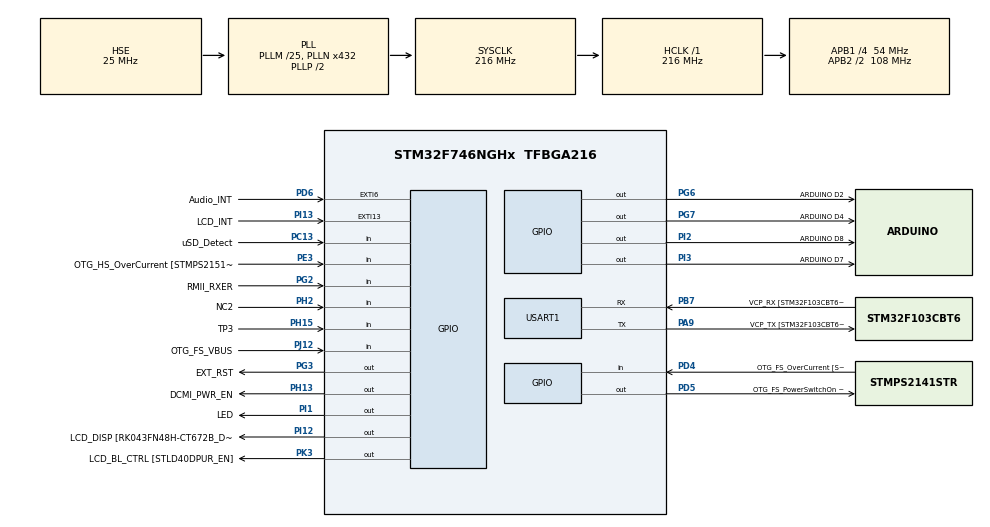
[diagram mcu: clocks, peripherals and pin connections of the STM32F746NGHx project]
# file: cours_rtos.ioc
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FREERTOS.Tasks01=defaultTask,0,256,StartDefaultTask,Default,NULL,Dynamic,NULL,NULL
Mcu.Family=STM32F7
Mcu.Name=STM32F746NGHx
Mcu.Package=TFBGA216
NVIC.PriorityGroup=NVIC_PRIORITYGROUP_4
NVIC.TIM6_DAC_IRQn=true\:15\:0\:false\:false\:true\:false\:false\:true\:true
NVIC.TimeBase=TIM6_DAC_IRQn
NVIC.TimeBaseIP=TIM6
NVIC.USART1_IRQn=true\:5\:0\:false\:false\:true\:true\:true\:true\:true
PA0/WKUP.GPIO_Label=ARDUINO A0
PA0/WKUP.GPIO_Mode=GPIO_MODE_ANALOG
PA0/WKUP.GPIO_PuPd=GPIO_NOPULL
PA0/WKUP.Signal=ADCx_IN0
PA1.GPIO_Label=RMII_REF_CLK [LAN8742A-CZ-TR_REFCLK0]
PA1.Signal=ETH_REF_CLK
PA10.GPIO_Label=OTG_FS_ID
PA10.Signal=USB_OTG_FS_ID
PA11.GPIO_Label=OTG_FS_N
PA11.Signal=USB_OTG_FS_DM
PA12.GPIO_Label=OTG_FS_P
PA12.Signal=USB_OTG_FS_DP
PA13.GPIO_Label=SWDIO
PA13.Mode=Serial_Wire
PA13.Signal=SYS_JTMS-SWDIO
PA14.GPIO_Label=SWCLK
PA14.Mode=Serial_Wire
PA14.Signal=SYS_JTCK-SWCLK
PA15.GPIO_Label=ARDUINO PWM/D9
PA15.GPIO_ModeDefaultPP=GPIO_MODE_AF_PP
PA15.GPIO_PuPd=GPIO_NOPULL
PA15.GPIO_Speed=GPIO_SPEED_FREQ_LOW
PA15.Signal=S_TIM2_CH1_ETR
PA2.GPIO_Label=RMII_MDIO [LAN8742A-CZ-TR_MDIO]
PA2.Signal=ETH_MDIO
PA3.GPIO_Label=ULPI_D0 [USB3320C-EZK_D0]
PA3.Signal=USB_OTG_HS_ULPI_D0
PA4.GPIO_Label=DCMI_HSYNC
PA4.Signal=DCMI_HSYNC
PA5.GPIO_Label=ULPI_CLK [USB3320C-EZK_CLKOUT]
PA5.Signal=USB_OTG_HS_ULPI_CK
PA6.Signal=DCMI_PIXCLK
PA7.GPIO_Label=RMII_CRS_DV [LAN8742A-CZ-TR_CRS_DV]
PA7.Signal=ETH_CRS_DV
PA8.GPIO_Label=ARDUINO PWM/D10
PA8.GPIO_ModeDefaultPP=GPIO_MODE_AF_PP
PA8.GPIO_PuPd=GPIO_NOPULL
PA8.GPIO_Speed=GPIO_SPEED_FREQ_LOW
PA8.Signal=S_TIM1_CH1
PA9.GPIO_Label=VCP_TX [STM32F103CBT6_PA3]
PA9.GPIO_Mode=GPIO_MODE_AF_PP
PA9.GPIO_PuPd=GPIO_NOPULL
PA9.GPIO_Speed=GPIO_SPEED_FREQ_LOW
PA9.Mode=Asynchronous
PA9.Signal=USART1_TX
PB0.GPIO_Label=ULPI_D1 [USB3320C-EZK_D1]
PB0.Signal=USB_OTG_HS_ULPI_D1
PB1.GPIO_Label=ULPI_D2 [USB3320C-EZK_D2]
PB1.Signal=USB_OTG_HS_ULPI_D2
PB10.GPIO_Label=ULPI_D3 [USB3320C-EZK_D3]
PB10.Signal=USB_OTG_HS_ULPI_D3
PB11.GPIO_Label=ULPI_D4 [USB3320C-EZK_D4]
PB11.Signal=USB_OTG_HS_ULPI_D4
PB12.GPIO_Label=ULPI_D5 [USB3320C-EZK_D5]
PB12.Signal=USB_OTG_HS_ULPI_D5
PB13.GPIO_Label=ULPI_D6 [USB3320C-EZK_D6]
PB13.Signal=USB_OTG_HS_ULPI_D6
PB14.GPIO_Label=ARDUINO MISO/D12
PB14.GPIO_Mode=GPIO_MODE_AF_PP
PB14.GPIO_PuPd=GPIO_NOPULL
PB14.GPIO_Speed=GPIO_SPEED_FREQ_LOW
PB14.Signal=SPI2_MISO
PB15.GPIO_Label=ARDUINO MOSI/PWM/D11
PB15.GPIO_Mode=GPIO_MODE_AF_PP
PB15.GPIO_PuPd=GPIO_NOPULL
PB15.GPIO_Speed=GPIO_SPEED_FREQ_LOW
PB15.Signal=SPI2_MOSI
PB2.Signal=QUADSPI_CLK
PB3.GPIO_Label=SWO
PB3.Signal=SYS_JTDO-SWO
PB4.GPIO_Label=ARDUINO PWM/D3
PB4.GPIO_ModeDefaultPP=GPIO_MODE_AF_PP
PB4.GPIO_PuPd=GPIO_NOPULL
PB4.GPIO_Speed=GPIO_SPEED_FREQ_LOW
PB4.Signal=S_TIM3_CH1
PB5.GPIO_Label=ULPI_D7 [USB3320C-EZK_D7]
PB5.Signal=USB_OTG_HS_ULPI_D7
PB6.GPIO_Label=QSPI_NCS [N25Q128A13EF840E_S]
PB6.Signal=QUADSPI_BK1_NCS
PB7.GPIO_Label=VCP_RX [STM32F103CBT6_PA2]
PB7.GPIO_Mode=GPIO_MODE_AF_PP
PB7.GPIO_PuPd=GPIO_NOPULL
PB7.GPIO_Speed=GPIO_SPEED_FREQ_LOW
PB7.Mode=Asynchronous
PB7.Signal=USART1_RX
PB8.GPIO_Label=ARDUINO SCL/D15
PB8.GPIO_Mode=GPIO_MODE_AF_OD
PB8.GPIO_PuPd=GPIO_NOPULL
PB8.GPIO_Speed=GPIO_SPEED_FREQ_LOW
PB8.Signal=I2C1_SCL
PB9.GPIO_Label=ARDUINO SDA/D14
PB9.GPIO_Mode=GPIO_MODE_AF_OD
PB9.GPIO_PuPd=GPIO_NOPULL
PB9.GPIO_Speed=GPIO_SPEED_FREQ_LOW
PB9.Signal=I2C1_SDA
PC0.GPIO_Label=ULPI_STP [USB3320C-EZK_STP]
PC0.Signal=USB_OTG_HS_ULPI_STP
PC1.GPIO_Label=RMII_MDC [LAN8742A-CZ-TR_MDC]
PC1.Signal=ETH_MDC
PC10.GPIO_Label=SDMMC_D2
PC10.Signal=SDMMC1_D2
PC11.GPIO_Label=SDMMC_D3
PC11.Signal=SDMMC1_D3
PC12.GPIO_Label=SDMMC_CK
PC12.Signal=SDMMC1_CK
PC13.GPIO_Label=uSD_Detect
PC13.Signal=GPIO_Input
PC14/OSC32_IN.GPIO_Label=RCC_OSC32_IN
PC14/OSC32_IN.Signal=RCC_OSC32_IN
PC15/OSC32_OUT.GPIO_Label=RCC_OSC32_OUT
PC15/OSC32_OUT.Signal=RCC_OSC32_OUT
PC2.GPIO_Label=ULPI_DIR [USB3320C-EZK_DIR]
PC2.Signal=USB_OTG_HS_ULPI_DIR
PC3.GPIO_Label=FMC_SDCKE0 [MT48LC4M32B2B5-6A_CKE]
PC3.Signal=FMC_SDCKE0
PC4.GPIO_Label=RMII_RXD0 [LAN8742A-CZ-TR_RXD0]
PC4.Signal=ETH_RXD0
PC5.GPIO_Label=RMII_RXD1 [LAN8742A-CZ-TR_RXD1]
PC5.Signal=ETH_RXD1
PC6.GPIO_Label=ARDUINO TX/D1
PC6.Signal=USART6_TX
PC7.GPIO_Label=ARDUINO RX/D0
PC7.Signal=USART6_RX
PC8.Signal=SDMMC1_D0
PC9.Signal=SDMMC1_D1
PD0.GPIO_Label=FMC_D2 [MT48LC4M32B2B5-6A_DQ2]
PD0.Signal=FMC_D2_DA2
PD1.GPIO_Label=FMC_D3 [MT48LC4M32B2B5-6A_DQ3]
PD1.Signal=FMC_D3_DA3
PD10.GPIO_Label=FMC_D15 [MT48LC4M32B2B5-6A_DQ15]
PD10.Signal=FMC_D15_DA15
PD11.GPIO_Label=QSPI_D0 [N25Q128A13EF840E_DQ0]
PD11.Signal=QUADSPI_BK1_IO0
PD12.GPIO_Label=QSPI_D1 [N25Q128A13EF840E_DQ1]
PD12.Signal=QUADSPI_BK1_IO1
PD13.GPIO_Label=QSPI_D3 [N25Q128A13EF840E_DQ3]
PD13.Signal=QUADSPI_BK1_IO3
PD14.GPIO_Label=FMC_D0 [MT48LC4M32B2B5-6A_DQ0]
PD14.Signal=FMC_D0_DA0
PD15.GPIO_Label=FMC_D1 [MT48LC4M32B2B5-6A_DQ1]
PD15.Signal=FMC_D1_DA1
PD2.GPIO_Label=SDMMC_D0
PD2.Signal=SDMMC1_CMD
PD3.GPIO_Label=DCMI_D5
PD3.Signal=DCMI_D5
PD4.GPIO_Label=OTG_FS_OverCurrent [STMPS2141STR_Fault]
PD4.Signal=GPIO_Input
PD5.GPIO_Label=OTG_FS_PowerSwitchOn [STMPS2141STR_EN]
PD5.PinState=GPIO_PIN_SET
PD5.Signal=GPIO_Output
PD6.GPIO_Label=Audio_INT
PD6.GPIO_ModeDefaultEXTI=GPIO_MODE_EVT_RISING
PD6.Signal=GPXTI6
PD7.GPIO_Label=SPDIF_RX0 [74LVC1G04SE_4]
PD7.Signal=SPDIFRX_IN0
PD8.GPIO_Label=FMC_D13 [MT48LC4M32B2B5-6A_DQ13]
PD8.Signal=FMC_D13_DA13
PD9.GPIO_Label=FMC_D14 [MT48LC4M32B2B5-6A_DQ14]
PD9.Signal=FMC_D14_DA14
PE0.GPIO_Label=FMC_NBL0 [MT48LC4M32B2B5-6A_DQM0]
PE0.Signal=FMC_NBL0
PE1.GPIO_Label=FMC_NBL1 [MT48LC4M32B2B5-6A_DQM1]
PE1.Signal=FMC_NBL1
PE10.GPIO_Label=FMC_D7 [MT48LC4M32B2B5-6A_DQ7]
PE10.Signal=FMC_D7_DA7
PE11.GPIO_Label=FMC_D8 [MT48LC4M32B2B5-6A_DQ8]
PE11.Signal=FMC_D8_DA8
PE12.GPIO_Label=FMC_D9 [MT48LC4M32B2B5-6A_DQ9]
PE12.Signal=FMC_D9_DA9
PE13.GPIO_Label=FMC_D10 [MT48LC4M32B2B5-6A_DQ10]
PE13.Signal=FMC_D10_DA10
PE14.GPIO_Label=FMC_D11 [MT48LC4M32B2B5-6A_DQ11]
PE14.Signal=FMC_D11_DA11
PE15.GPIO_Label=FMC_D12 [MT48LC4M32B2B5-6A_DQ12]
PE15.Signal=FMC_D12_DA12
PE2.GPIO_Label=QSPI_D2 [N25Q128A13EF840E_DQ2]
PE2.Signal=QUADSPI_BK1_IO2
PE3.GPIO_Label=OTG_HS_OverCurrent [STMPS2151STR_FAULT]
PE3.Signal=GPIO_Input
PE4.GPIO_Label=LCD_B0 [RK043FN48H-CT672B_B0]
PE4.Signal=LTDC_B0
PE5.GPIO_Label=DCMI_D6
PE5.Signal=DCMI_D6
PE6.GPIO_Label=DCMI_D7
PE6.Signal=DCMI_D7
PE7.GPIO_Label=FMC_D4 [MT48LC4M32B2B5-6A_DQ4]
PE7.Signal=FMC_D4_DA4
PE8.GPIO_Label=FMC_D5 [MT48LC4M32B2B5-6A_DQ5]
PE8.Signal=FMC_D5_DA5
PE9.GPIO_Label=FMC_D6 [MT48LC4M32B2B5-6A_DQ6]
PE9.Signal=FMC_D6_DA6
PF0.GPIO_Label=FMC_A0 [MT48LC4M32B2B5-6A_A0]
PF0.Signal=FMC_A0
PF1.GPIO_Label=FMC_A1 [MT48LC4M32B2B5-6A_A1]
PF1.Signal=FMC_A1
PF10.GPIO_Label=ARDUINO A1
PF10.GPIO_Mode=GPIO_MODE_ANALOG
PF10.GPIO_PuPd=GPIO_NOPULL
PF10.Signal=ADC3_IN8
PF11.GPIO_Label=FMC_SDNRAS [MT48LC4M32B2B5-6A_RAS]
PF11.Signal=FMC_SDNRAS
PF12.GPIO_Label=FMC_A6 [MT48LC4M32B2B5-6A_A6]
PF12.Signal=FMC_A6
PF13.GPIO_Label=FMC_A7 [MT48LC4M32B2B5-6A_A7]
PF13.Signal=FMC_A7
PF14.GPIO_Label=FMC_A8 [MT48LC4M32B2B5-6A_A8]
PF14.Signal=FMC_A8
PF15.GPIO_Label=FMC_A9 [MT48LC4M32B2B5-6A_A9]
PF15.Signal=FMC_A9
PF2.GPIO_Label=FMC_A2 [MT48LC4M32B2B5-6A_A2]
PF2.Signal=FMC_A2
PF3.GPIO_Label=FMC_A3 [MT48LC4M32B2B5-6A_A3]
PF3.Signal=FMC_A3
PF4.GPIO_Label=FMC_A4 [MT48LC4M32B2B5-6A_A4]
PF4.Signal=FMC_A4
PF5.GPIO_Label=FMC_A5 [MT48LC4M32B2B5-6A_A5]
PF5.Signal=FMC_A5
PF6.GPIO_Label=ARDUINO A5
PF6.GPIO_Mode=GPIO_MODE_ANALOG
PF6.GPIO_PuPd=GPIO_NOPULL
PF6.Signal=ADC3_IN4
PF7.GPIO_Label=ARDUINO A4
PF7.GPIO_Mode=GPIO_MODE_ANALOG
PF7.GPIO_PuPd=GPIO_NOPULL
PF7.Signal=ADC3_IN5
PF8.GPIO_Label=ARDUINO A3
PF8.GPIO_Mode=GPIO_MODE_ANALOG
PF8.GPIO_PuPd=GPIO_NOPULL
PF8.Signal=ADC3_IN6
PF9.GPIO_Label=ARDUINO A2
PF9.GPIO_Mode=GPIO_MODE_ANALOG
PF9.GPIO_PuPd=GPIO_NOPULL
PF9.Signal=ADC3_IN7
PG0.GPIO_Label=FMC_A10 [MT48LC4M32B2B5-6A_A10]
PG0.Signal=FMC_A10
PG1.GPIO_Label=FMC_A11 [MT48LC4M32B2B5-6A_A11]
PG1.Signal=FMC_A11
PG10.GPIO_Label=SAI2_SDB [WM8994ECS/R_ADCDAT1]
PG10.Signal=SAI2_SD_B
PG11.GPIO_Label=RMII_TX_EN [LAN8742A-CZ-TR_TXEN]
PG11.Signal=ETH_TX_EN
PG12.GPIO_Label=LCD_B4 [RK043FN48H-CT672B_B4]
PG12.Signal=LTDC_B4
PG13.GPIO_Label=RMII_TXD0 [LAN8742A-CZ-TR_TXD0]
PG13.Signal=ETH_TXD0
PG14.GPIO_Label=RMII_TXD1 [LAN8742A-CZ-TR_TXD1]
PG14.Signal=ETH_TXD1
PG15.GPIO_Label=FMC_SDNCAS [MT48LC4M32B2B5-6A_CAS]
PG15.Signal=FMC_SDNCAS
PG2.GPIO_Label=RMII_RXER
PG2.Signal=GPIO_Input
PG3.GPIO_Label=EXT_RST
PG3.Signal=GPIO_Output
PG4.GPIO_Label=FMC_BA0 [MT48LC4M32B2B5-6A_BA0]
PG4.Signal=FMC_A14_BA0
PG5.GPIO_Label=FMC_BA1 [MT48LC4M32B2B5-6A_BA1]
PG5.Signal=FMC_A15_BA1
PG6.GPIO_Label=ARDUINO D2
PG6.Signal=GPIO_Output
PG7.GPIO_Label=ARDUINO D4
PG7.Signal=GPIO_Output
PG8.GPIO_Label=FMC_SDCLK [MT48LC4M32B2B5-6A_CLK]
PG8.Signal=FMC_SDCLK
PG9.GPIO_Label=DCMI_VSYNC
PG9.Signal=DCMI_VSYNC
PH0/OSC_IN.GPIO_Label=OSC_25M [NZ2520SB-25.00M_OUT]
PH0/OSC_IN.Mode=HSE-External-Oscillator
PH0/OSC_IN.Signal=RCC_OSC_IN
PH1/OSC_OUT.Mode=HSE-External-Oscillator
PH1/OSC_OUT.Signal=RCC_OSC_OUT
PH10.GPIO_Label=DCMI_D1
PH10.Signal=DCMI_D1
PH11.GPIO_Label=DCMI_D2
PH11.Signal=DCMI_D2
PH12.GPIO_Label=DCMI_D3
PH12.Signal=DCMI_D3
PH13.GPIO_Label=DCMI_PWR_EN
PH13.Signal=GPIO_Output
PH14.GPIO_Label=DCMI_D4
PH14.Signal=DCMI_D4
PH15.GPIO_Label=TP3
PH15.Signal=GPIO_Input
PH2.GPIO_Label=NC2
PH2.Signal=GPIO_Input
PH3.GPIO_Label=FMC_SDNE0 [MT48LC4M32B2B5-6A_CS]
PH3.Signal=FMC_SDNE0
PH4.GPIO_Label=ULPI_NXT [USB3320C-EZK_NXT]
PH4.Signal=USB_OTG_HS_ULPI_NXT
PH5.GPIO_Label=FMC_SDNME [MT48LC4M32B2B5-6A_WE]
PH5.Signal=FMC_SDNWE
PH6.GPIO_Label=ARDUINO PWM/D6
PH6.Signal=S_TIM12_CH1
PH7.GPIO_Label=LCD_SCL [RK043FN48H-CT672B_SCL]
PH7.Signal=I2C3_SCL
PH8.GPIO_Label=LCD_SDA [RK043FN48H-CT672B_SDA]
PH8.Signal=I2C3_SDA
PH9.GPIO_Label=DCMI_D0
PH9.Signal=DCMI_D0
PI0.GPIO_Label=ARDUINO PWM/CS/D5
PI0.GPIO_ModeDefaultPP=GPIO_MODE_AF_PP
PI0.GPIO_PuPd=GPIO_NOPULL
PI0.GPIO_Speed=GPIO_SPEED_FREQ_LOW
PI0.Signal=S_TIM5_CH4
PI1.GPIO_Label=LED
PI1.Signal=GPIO_Output
PI10.GPIO_Label=LCD_HSYNC [RK043FN48H-CT672B_HSYNC]
PI10.Signal=LTDC_HSYNC
PI12.GPIO_Label=LCD_DISP [RK043FN48H-CT672B_DISP] 
PI12.Signal=GPIO_Output
PI13.GPIO_Label=LCD_INT
PI13.GPIO_ModeDefaultEXTI=GPIO_MODE_EVT_RISING
PI13.Signal=GPXTI13
PI14.GPIO_Label=LCD_CLK [RK043FN48H-CT672B_CLK]
PI14.Signal=LTDC_CLK
PI15.GPIO_Label=LCD_R0 [RK043FN48H-CT672B_R0]
PI15.Signal=LTDC_R0
PI2.GPIO_Label=ARDUINO D8
PI2.Signal=GPIO_Output
PI3.GPIO_Label=ARDUINO D7
PI3.Signal=GPIO_Output
PI4.GPIO_Label=SAI2_MCLKA [WM8994ECS/R_MCLK1]
PI4.Signal=SAI2_MCLK_A
PI5.GPIO_Label=SAI2_SCKA [WM8994ECS/R_BCLK1]
PI5.Signal=SAI2_SCK_A
PI6.GPIO_Label=SAI2_SDA [WM8994ECS/R_DACDAT1]
PI6.Signal=SAI2_SD_A
PI7.GPIO_Label=SAI2_FSA [WM8994ECS/R_LRCLK1]
PI7.Signal=SAI2_FS_A
PI8.GPIO_Label=NC1 [TP2]
PI8.Signal=RTC_TS
PI9.GPIO_Label=LCD_VSYNC [RK043FN48H-CT672B_VSYNC]
PI9.Signal=LTDC_VSYNC
PJ0.GPIO_Label=LCD_R1 [RK043FN48H-CT672B_R1]
PJ0.Signal=LTDC_R1
PJ1.GPIO_Label=LCD_R2 [RK043FN48H-CT672B_R2]
PJ1.Signal=LTDC_R2
PJ10.GPIO_Label=LCD_G3 [RK043FN48H-CT672B_G3]
PJ10.Signal=LTDC_G3
PJ11.GPIO_Label=LCD_G4 [RK043FN48H-CT672B_G4]
PJ11.Signal=LTDC_G4
PJ12.GPIO_Label=OTG_FS_VBUS
PJ12.Signal=GPIO_Input
PJ13.GPIO_Label=LCD_B1 [RK043FN48H-CT672B_B1]
PJ13.Signal=LTDC_B1
PJ14.GPIO_Label=LCD_B2 [RK043FN48H-CT672B_B2]
PJ14.Signal=LTDC_B2
PJ15.GPIO_Label=LCD_B3 [RK043FN48H-CT672B_B3]
PJ15.Signal=LTDC_B3
PJ2.GPIO_Label=LCD_R3 [RK043FN48H-CT672B_R3]
PJ2.Signal=LTDC_R3
PJ3.GPIO_Label=LCD_R4 [RK043FN48H-CT672B_R4]
PJ3.Signal=LTDC_R4
PJ4.GPIO_Label=LCD_R5 [RK043FN48H-CT672B_R5]
PJ4.Signal=LTDC_R5
PJ5.GPIO_Label=LCD_R6 [RK043FN48H-CT672B_R6]
PJ5.Signal=LTDC_R6
PJ6.GPIO_Label=LCD_R7 [RK043FN48H-CT672B_R7]
PJ6.Signal=LTDC_R7
PJ7.GPIO_Label=LCD_G0 [RK043FN48H-CT672B_G0]
PJ7.Signal=LTDC_G0
PJ8.GPIO_Label=LCD_G1 [RK043FN48H-CT672B_G1]
PJ8.Signal=LTDC_G1
PJ9.GPIO_Label=LCD_G2 [RK043FN48H-CT672B_G2]
PJ9.Signal=LTDC_G2
PK0.GPIO_Label=LCD_G5 [RK043FN48H-CT672B_G5]
PK0.Signal=LTDC_G5
PK1.GPIO_Label=LCD_G6 [RK043FN48H-CT672B_G6]
PK1.Signal=LTDC_G6
PK2.GPIO_Label=LCD_G7 [RK043FN48H-CT672B_G7]
PK2.Signal=LTDC_G7
PK3.GPIO_Label=LCD_BL_CTRL [STLD40DPUR_EN]
PK3.Signal=GPIO_Output
PK4.GPIO_Label=LCD_B5 [RK043FN48H-CT672B_B5]
PK4.Signal=LTDC_B5
PK5.GPIO_Label=LCD_B6 [RK043FN48H-CT672B_B6]
PK5.Signal=LTDC_B6
PK6.GPIO_Label=LCD_B7 [RK043FN48H-CT672B_B7]
PK6.Signal=LTDC_B7
PK7.GPIO_Label=LCD_DE [RK043FN48H-CT672B_DE]
PK7.Signal=LTDC_DE
ProjectManager.HeapSize=0x200
ProjectManager.StackSize=0x400
ProjectManager.TargetToolchain=CMake
RCC.AHBFreq_Value=216000000
RCC.APB1CLKDivider=RCC_HCLK_DIV4
RCC.APB1Freq_Value=54000000
RCC.APB1TimFreq_Value=108000000
RCC.APB2CLKDivider=RCC_HCLK_DIV2
RCC.APB2Freq_Value=108000000
RCC.APB2TimFreq_Value=216000000
RCC.CortexFreq_Value=216000000
RCC.HCLKFreq_Value=216000000
RCC.HSE_VALUE=25000000
RCC.HSI_VALUE=16000000
RCC.LSE_VALUE=32768
RCC.PLLM=25
RCC.PLLN=432
RCC.PLLSourceVirtual=RCC_PLLSOURCE_HSE
RCC.SYSCLKFreq_VALUE=216000000
RCC.SYSCLKSource=RCC_SYSCLKSOURCE_PLLCLK
RCC.USBFreq_Value=216000000
RCC.VCOOutputFreq_Value=432000000
SH.ADCx_IN0.0=ADC3_IN0
SH.FMC_A0.0=FMC_A0
SH.FMC_A1.0=FMC_A1
SH.FMC_A10.0=FMC_A10
SH.FMC_A11.0=FMC_A11
SH.FMC_A14_BA0.0=FMC_BA0
SH.FMC_A15_BA1.0=FMC_BA1
SH.FMC_A2.0=FMC_A2
SH.FMC_A3.0=FMC_A3
SH.FMC_A4.0=FMC_A4
SH.FMC_A5.0=FMC_A5
SH.FMC_A6.0=FMC_A6
SH.FMC_A7.0=FMC_A7
SH.FMC_A8.0=FMC_A8
SH.FMC_A9.0=FMC_A9
SH.FMC_D0_DA0.0=FMC_D0
SH.FMC_D10_DA10.0=FMC_D10
SH.FMC_D11_DA11.0=FMC_D11
SH.FMC_D12_DA12.0=FMC_D12
SH.FMC_D13_DA13.0=FMC_D13
SH.FMC_D14_DA14.0=FMC_D14
SH.FMC_D15_DA15.0=FMC_D15
SH.FMC_D1_DA1.0=FMC_D1
SH.FMC_D2_DA2.0=FMC_D2
SH.FMC_D3_DA3.0=FMC_D3
SH.FMC_D4_DA4.0=FMC_D4
SH.FMC_D5_DA5.0=FMC_D5
SH.FMC_D6_DA6.0=FMC_D6
SH.FMC_D7_DA7.0=FMC_D7
SH.FMC_D8_DA8.0=FMC_D8
SH.FMC_D9_DA9.0=FMC_D9
SH.FMC_NBL0.0=FMC_NBL0
SH.FMC_NBL1.0=FMC_NBL1
SH.FMC_SDCLK.0=FMC_SDCLK
SH.FMC_SDNCAS.0=FMC_SDNCAS
SH.FMC_SDNRAS.0=FMC_SDNRAS
SH.FMC_SDNWE.0=FMC_SDNWE
SH.S_TIM12_CH1.0=TIM12_CH1
SH.S_TIM1_CH1.0=TIM1_CH1
SH.S_TIM2_CH1_ETR.0=TIM2_CH1
SH.S_TIM3_CH1.0=TIM3_CH1
SH.S_TIM5_CH4.0=TIM5_CH4
USART1.VirtualMode-Asynchronous=VM_ASYNC
VP_FREERTOS_VS_CMSIS_V1.Mode=CMSIS_V1
VP_SYS_VS_tim6.Mode=TIM6
board=STM32F746G-DISCO

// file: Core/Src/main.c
/* USER CODE BEGIN Header */
/**
 ******************************************************************************
 * @file           : main.c
 * @brief          : Main program body
 ******************************************************************************
 * @attention
 *
 * Copyright (c) 2026 STMicroelectronics.
 * All rights reserved.
 *
 * This software is licensed under terms that can be found in the LICENSE file
 * in the root directory of this software component.
 * If no LICENSE file comes with this software, it is provided AS-IS.
 *
 ******************************************************************************
 */
/* USER CODE END Header */
#include "main.h"
#include "cmsis_os.h"
#include "usart.h"
#include "gpio.h"

/* USER CODE BEGIN Includes */
#include <stdio.h>
/* USER CODE END Includes */

void SystemClock_Config(void);
void MX_FREERTOS_Init(void);

/* USER CODE BEGIN 0 */
int __io_putchar(int chr)
{
	HAL_UART_Transmit(&huart1, (uint8_t*)&chr, 1, HAL_MAX_DELAY);

	return chr;
}

/* Utilisation d'interruption pour code rapide */
//static uint8_t data;
//
//void HAL_UART_RxCpltCallback(UART_HandleTypeDef *huart)
//{
//	HAL_UART_Transmit(&huart1, &data, 1, HAL_MAX_DELAY);
//
//	// gros traitement (prend du temps)
//
//	HAL_UART_Receive_IT(&huart1, &data, 1);
//}

/* Utilisation d'interruption si le code est plus lent */
static int uart1_rx_flag = 0;
TaskHandle_t h_task_uart1_echo;

void HAL_UART_RxCpltCallback(UART_HandleTypeDef *huart)
{
	// On ignore la partie "hptw" pour l'instant
	BaseType_t hptw = pdFALSE;

	if (huart->Instance == USART1)
	{
		// Il faut envoyer une notification à la tâche uart1_echo
		vTaskNotifyGiveFromISR(h_task_uart1_echo, &hptw);
	}
	portYIELD_FROM_ISR(hptw);
}

int globale;

void task_led_blink(void * unused)
{
	for(;;)
	{
		HAL_GPIO_TogglePin(LED_GPIO_Port, LED_Pin);
		vTaskDelay(100);
	}
}

void task_uart1_echo(void * unused)
{
	// Configure l'UART1 pour déclancher une interruption lors de la réception d'un caractère
	uint8_t data;
	HAL_UART_Receive_IT(&huart1, &data, 1);

	for(;;)
	{
		// Il faut bloquer la tâche jusqu'à ce qu'un caractère soit reçu
		ulTaskNotifyTake(pdTRUE, portMAX_DELAY);
		// ulTaskNotifyTake = bloque la tâche jusqu'à ce qu'on reçoive une notification

		HAL_UART_Transmit(&huart1, &data, 1, HAL_MAX_DELAY);

		HAL_UART_Receive_IT(&huart1, &data, 1);
	}
}
/* USER CODE END 0 */

int main(void)
{

	/* MCU Configuration--------------------------------------------------------*/

	/* Reset of all peripherals, Initializes the Flash interface and the Systick. */
	HAL_Init();

	/* Configure the system clock */
	SystemClock_Config();

	/* Initialize all configured peripherals */
	MX_GPIO_Init();
	MX_USART1_UART_Init();
	/* USER CODE BEGIN 2 */
	printf("\r\n ===== 3DN Cours RTOS =====\r\n");

	BaseType_t ret;

	ret = xTaskCreate(task_led_blink, "LED Blink", 512, NULL, 1, NULL);

	if (ret != pdPASS)
	{
		printf("Error creating task LED Blink\r\n");
		Error_Handler();
	}

	// &h_task_uart1_echo permet à xTaskCreate de nous fournir le handle dans le tâche
	if (xTaskCreate(task_uart1_echo, "UART1 Echo", 512, NULL, 2, &h_task_uart1_echo) != pdPASS)
	{
		printf("Error creating task UART1 Echo\r\n");
		Error_Handler();
	}

	vTaskStartScheduler();	// Démarre l'OS = boucle infinie
	// Il ne se passe rien après cette ligne
	/* USER CODE END 2 */

	/* Call init function for freertos objects (in cmsis_os2.c) */
	MX_FREERTOS_Init();

	/* Start scheduler */
	osKernelStart();

	/* We should never get here as control is now taken by the scheduler */

	/* Infinite loop */
	/* USER CODE BEGIN WHILE */
	while (1)
	{
		// Superloop
		// Superboucle
		if (HAL_GetTick() % 100 == 0)
		{
			HAL_GPIO_TogglePin(LED_GPIO_Port, LED_Pin);
		}

		if (uart1_rx_flag == 1)
		{
			//			HAL_UART_Transmit(&huart1, &data, 1, HAL_MAX_DELAY);
			//
			//			// Traitement lent
			//
			//			HAL_UART_Receive_IT(&huart1, &data, 1);
			//
			//			uart1_rx_flag = 0;
		}

		//		uint8_t data;
		//		HAL_UART_Receive(&huart1, &data, 1, HAL_MAX_DELAY);
		//		HAL_UART_Transmit(&huart1, &data, 1, HAL_MAX_DELAY);
		/* USER CODE END WHILE */

	}
}

void SystemClock_Config(void)
{
	RCC_OscInitTypeDef RCC_OscInitStruct = {0};
	RCC_ClkInitTypeDef RCC_ClkInitStruct = {0};

	/** Configure the main internal regulator output voltage
	 */
	__HAL_RCC_PWR_CLK_ENABLE();
	__HAL_PWR_VOLTAGESCALING_CONFIG(PWR_REGULATOR_VOLTAGE_SCALE1);

	/** Initializes the RCC Oscillators according to the specified parameters
	 * in the RCC_OscInitTypeDef structure.
	 */
	RCC_OscInitStruct.OscillatorType = RCC_OSCILLATORTYPE_HSE;
	RCC_OscInitStruct.HSEState = RCC_HSE_ON;
	RCC_OscInitStruct.PLL.PLLState = RCC_PLL_ON;
	RCC_OscInitStruct.PLL.PLLSource = RCC_PLLSOURCE_HSE;
	RCC_OscInitStruct.PLL.PLLM = 25;
	RCC_OscInitStruct.PLL.PLLN = 432;
	RCC_OscInitStruct.PLL.PLLP = RCC_PLLP_DIV2;
	RCC_OscInitStruct.PLL.PLLQ = 2;
	if (HAL_RCC_OscConfig(&RCC_OscInitStruct) != HAL_OK)
	{
		Error_Handler();
	}

	/** Activate the Over-Drive mode
	 */
	if (HAL_PWREx_EnableOverDrive() != HAL_OK)
	{
		Error_Handler();
	}

	/** Initializes the CPU, AHB and APB buses clocks
	 */
	RCC_ClkInitStruct.ClockType = RCC_CLOCKTYPE_HCLK|RCC_CLOCKTYPE_SYSCLK
			|RCC_CLOCKTYPE_PCLK1|RCC_CLOCKTYPE_PCLK2;
	RCC_ClkInitStruct.SYSCLKSource = RCC_SYSCLKSOURCE_PLLCLK;
	RCC_ClkInitStruct.AHBCLKDivider = RCC_SYSCLK_DIV1;
	RCC_ClkInitStruct.APB1CLKDivider = RCC_HCLK_DIV4;
	RCC_ClkInitStruct.APB2CLKDivider = RCC_HCLK_DIV2;

	if (HAL_RCC_ClockConfig(&RCC_ClkInitStruct, FLASH_LATENCY_7) != HAL_OK)
	{
		Error_Handler();
	}
}

void HAL_TIM_PeriodElapsedCallback(TIM_HandleTypeDef *htim)
{
	if (htim->Instance == TIM6)
	{
		HAL_IncTick();
	}
}

void Error_Handler(void)
{
	__disable_irq();
	while (1)
	{
	}
}

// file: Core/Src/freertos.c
/* USER CODE BEGIN Header */
/**
  ******************************************************************************
  * File Name          : freertos.c
  * Description        : Code for freertos applications
  ******************************************************************************
  * @attention
  *
  * Copyright (c) 2026 STMicroelectronics.
  * All rights reserved.
  *
  * This software is licensed under terms that can be found in the LICENSE file
  * in the root directory of this software component.
  * If no LICENSE file comes with this software, it is provided AS-IS.
  *
  ******************************************************************************
  */
/* USER CODE END Header */

#include "FreeRTOS.h"
#include "task.h"
#include "main.h"
#include "cmsis_os.h"

osThreadId defaultTaskHandle;

void StartDefaultTask(void const * argument);

void MX_FREERTOS_Init(void); /* (MISRA C 2004 rule 8.1) */

/* GetIdleTaskMemory prototype (linked to static allocation support) */
void vApplicationGetIdleTaskMemory( StaticTask_t **ppxIdleTaskTCBBuffer, StackType_t **ppxIdleTaskStackBuffer, uint32_t *pulIdleTaskStackSize );

/* USER CODE BEGIN GET_IDLE_TASK_MEMORY */
static StaticTask_t xIdleTaskTCBBuffer;
static StackType_t xIdleStack[configMINIMAL_STACK_SIZE];

void vApplicationGetIdleTaskMemory( StaticTask_t **ppxIdleTaskTCBBuffer, StackType_t **ppxIdleTaskStackBuffer, uint32_t *pulIdleTaskStackSize )
{
  *ppxIdleTaskTCBBuffer = &xIdleTaskTCBBuffer;
  *ppxIdleTaskStackBuffer = &xIdleStack[0];
  *pulIdleTaskStackSize = configMINIMAL_STACK_SIZE;
  /* place for user code */
}
/* USER CODE END GET_IDLE_TASK_MEMORY */

void MX_FREERTOS_Init(void) {

  /* Create the thread(s) */
  /* definition and creation of defaultTask */
  osThreadDef(defaultTask, StartDefaultTask, osPriorityNormal, 0, 256);
  defaultTaskHandle = osThreadCreate(osThread(defaultTask), NULL);

}

void StartDefaultTask(void const * argument)
{
  for(;;)
  {
    osDelay(1);
  }
}
